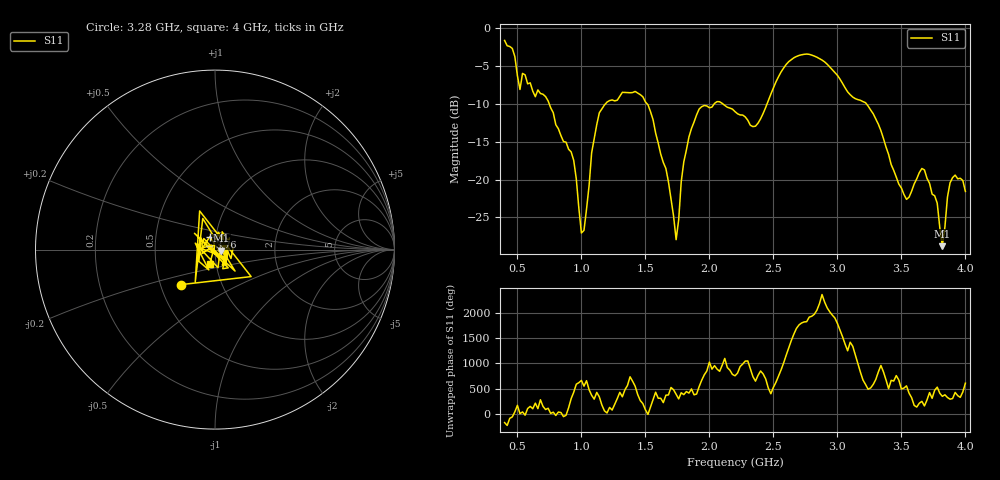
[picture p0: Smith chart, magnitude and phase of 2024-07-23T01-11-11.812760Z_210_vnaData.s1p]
!Created with skrf (http://scikit-rf.org).
# Hz S RI R 50.0
!freq ReS11 ImS11
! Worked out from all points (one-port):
!   181 points, 400 MHz to 4 GHz, reference 50 ohm
!   lowest |S11| = -28.8 dB at 3.82 GHz (marker M1), VSWR 1.08, Z = 53.7 - j0.606 ohm
!   |S11| at or under -10 dB: 748.1 MHz to 1.189 GHz (440.6 MHz wide, 45.5 % of centre); 1.513 GHz to 2.038 GHz (525.7 MHz wide, 29.6 % of centre); 3.226 GHz to end of sweep (the widest 3 of 4)
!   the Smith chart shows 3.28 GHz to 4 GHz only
!   S11 on the Smith chart (normalised r, x): 3.28 GHz: 0.64, -0.27; 3.76 GHz: 0.94, +0.14; 4 GHz: 0.93, -0.15
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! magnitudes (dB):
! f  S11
! 400 MHz  -1.6
! 480 MHz  -3.8
! 520 MHz  -8.1
! 540 MHz  -6.0
! 720 MHz  -9.1
! 860 MHz  -15.0
! 940 MHz  -17.5
! 1 GHz  -27.1
! 1.14 GHz  -11.2
! 1.3 GHz  -9.0
! 1.52 GHz  -10.1
! 1.66 GHz  -18.5
! 1.74 GHz  -27.9
! 1.76 GHz  -25.3
! 1.8 GHz  -17.7
! 1.92 GHz  -10.7
! 2.2 GHz  -11.0
! 2.36 GHz  -13.0
! 2.66 GHz  -3.9
! 2.88 GHz  -4.2
! 3.1 GHz  -8.8
! 3.28 GHz  -11.3
! 3.56 GHz  -22.3
! 3.66 GHz  -18.5
! 3.76 GHz  -22.1
! 3.82 GHz  -28.8
! 3.88 GHz  -20.4
! 4 GHz  -21.6
